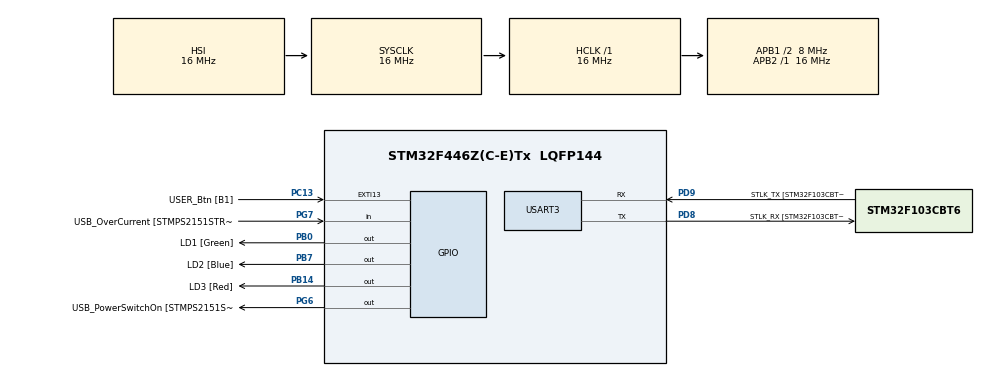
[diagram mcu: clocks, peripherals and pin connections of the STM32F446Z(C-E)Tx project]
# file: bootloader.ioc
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Mcu.Family=STM32F4
Mcu.Name=STM32F446Z(C-E)Tx
Mcu.Package=LQFP144
NVIC.PriorityGroup=NVIC_PRIORITYGROUP_4
PA10.GPIO_Label=USB_ID
PA10.Signal=USB_OTG_FS_ID
PA11.GPIO_Label=USB_DM
PA11.Signal=USB_OTG_FS_DM
PA12.GPIO_Label=USB_DP
PA12.Signal=USB_OTG_FS_DP
PA13.GPIO_Label=TMS
PA13.Signal=SYS_JTMS-SWDIO
PA14.GPIO_Label=TCK
PA14.Signal=SYS_JTCK-SWCLK
PA8.GPIO_Label=USB_SOF [TP1]
PA8.Signal=USB_OTG_FS_SOF
PA9.GPIO_Label=USB_VBUS
PA9.Signal=USB_OTG_FS_VBUS
PB0.GPIO_Label=LD1 [Green]
PB0.Signal=GPIO_Output
PB14.GPIO_Label=LD3 [Red]
PB14.Signal=GPIO_Output
PB7.GPIO_Label=LD2 [Blue]
PB7.Signal=GPIO_Output
PC13.GPIO_Label=USER_Btn [B1]
PC13.Signal=GPXTI13
PC14-OSC32_IN.Signal=RCC_OSC32_IN
PC15-OSC32_OUT.Signal=RCC_OSC32_OUT
PD8.GPIO_Label=STLK_RX [STM32F103CBT6_PA3]
PD8.Mode=Asynchronous
PD8.Signal=USART3_TX
PD9.GPIO_Label=STLK_TX [STM32F103CBT6_PA2]
PD9.Mode=Asynchronous
PD9.Signal=USART3_RX
PG6.GPIO_Label=USB_PowerSwitchOn [STMPS2151STR_EN]
PG6.Signal=GPIO_Output
PG7.GPIO_Label=USB_OverCurrent [STMPS2151STR_FAULT]
PG7.Signal=GPIO_Input
PH0-OSC_IN.GPIO_Label=MCO [STM32F103CBT6_PA8]
PH0-OSC_IN.Signal=RCC_OSC_IN
PH1-OSC_OUT.Signal=RCC_OSC_OUT
ProjectManager.HeapSize=0x200
ProjectManager.StackSize=0x400
ProjectManager.TargetToolchain=MDK-ARM V5
RCC.48MHZClocksFreq_Value=24000000
RCC.AHBFreq_Value=16000000
RCC.APB1CLKDivider=RCC_HCLK_DIV2
RCC.APB1Freq_Value=8000000
RCC.APB1TimFreq_Value=16000000
RCC.APB2Freq_Value=16000000
RCC.APB2TimFreq_Value=16000000
RCC.CortexFreq_Value=16000000
RCC.HCLKFreq_Value=16000000
RCC.HSE_VALUE=8000000
RCC.HSI_VALUE=16000000
RCC.LSE_VALUE=32768
RCC.PLLMUL=RCC_PLL_MUL9
RCC.PRESCALERUSB=RCC_USBCLKSOURCE_PLL_DIV1_5
RCC.SYSCLKFreq_VALUE=16000000
RCC.SYSCLKSourceVirtual=RCC_SYSCLKSOURCE_PLLCLK
RCC.USBFreq_Value=96000000
RCC.VCOOutputFreq_Value=192000000
USART3.VirtualMode=VM_ASYNC
VP_CRC_VS_CRC.Mode=CRC_Activate
board=NUCLEO-F446ZE

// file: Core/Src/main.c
/* USER CODE BEGIN Header */
/**
  ******************************************************************************
  * @file           : main.c
  * @brief          : Main program body
  ******************************************************************************
  * @attention
  *
  * <h2><center>&copy; Copyright (c) 2021 STMicroelectronics.
  * All rights reserved.</center></h2>
  *
  * This software component is licensed by ST under BSD 3-Clause license,
  * the "License"; You may not use this file except in compliance with the
  * License. You may obtain a copy of the License at:
  *                        opensource.org/licenses/BSD-3-Clause
  *
  ******************************************************************************
  */
/* USER CODE END Header */
#include "main.h"

/* USER CODE BEGIN Includes */
#include <stdarg.h>
#include <string.h>
#include <stdint.h>
#include <stdio.h>

/* USER CODE END Includes */

/* USER CODE BEGIN PD */
#define BL_DEBUG_MSG_EN
/* USER CODE END PD */

/* USER CODE BEGIN PM */
#define BL_RX_LEN  200

/* USER CODE END PM */

CRC_HandleTypeDef hcrc;

UART_HandleTypeDef huart3;
 uint8_t bl_rx_buffer[BL_RX_LEN];

void SystemClock_Config(void);
static void MX_GPIO_Init(void);
static void MX_CRC_Init(void);
static void MX_USART3_UART_Init(void);
/* USER CODE BEGIN PFP */
/* Private function prototypes -----------------------------------------------*/
 static void printmsg(char *format,...);

/* USER CODE END PFP */

/* USER CODE BEGIN 0 */
char data[] = "Hello from bootloader\r\n";

/* USER CODE END 0 */

int main(void)
{

  /* MCU Configuration--------------------------------------------------------*/

  /* Reset of all peripherals, Initializes the Flash interface and the Systick. */
  HAL_Init();

  /* Configure the system clock */
  SystemClock_Config();

  /* Initialize all configured peripherals */
  MX_GPIO_Init();
  MX_CRC_Init();
  MX_USART3_UART_Init();
  /* USER CODE BEGIN 2 */
	printmsg("Running boot loader program.......\r\n");

	/* Lets check whether button is pressed or not, if not pressed jump to user application */
  if ( HAL_GPIO_ReadPin(GPIOC,GPIO_PIN_13) == GPIO_PIN_SET)
  {
	  printmsg("Button is pressed .. going to BL mode\r\n");

	  //we should continue in bootloader mode
	  bootloader_uart_read_data();

  }
  else
  {
	  printmsg("Button is not pressed .. executing user app\r\n");

		//jump to user application
		bootloader_jump_to_user_app();

  }

  /* USER CODE END 2 */

  /* Infinite loop */
  /* USER CODE BEGIN WHILE */
#if 0
  while (1)
  {
    /* USER CODE END WHILE */

    /* USER CODE BEGIN 3 */
		uint32_t curr_tick = HAL_GetTick();
		printmsg("curren tick = %d\r\n", curr_tick);

		while(HAL_GetTick() <= (curr_tick + 500));

  }
#endif
  /* USER CODE END 3 */
}

void SystemClock_Config(void)
{
  RCC_OscInitTypeDef RCC_OscInitStruct = {0};
  RCC_ClkInitTypeDef RCC_ClkInitStruct = {0};

  /** Configure the main internal regulator output voltage
  */
  __HAL_RCC_PWR_CLK_ENABLE();
  __HAL_PWR_VOLTAGESCALING_CONFIG(PWR_REGULATOR_VOLTAGE_SCALE3);
  /** Initializes the RCC Oscillators according to the specified parameters
  * in the RCC_OscInitTypeDef structure.
  */
  RCC_OscInitStruct.OscillatorType = RCC_OSCILLATORTYPE_HSI;
  RCC_OscInitStruct.HSIState = RCC_HSI_ON;
  RCC_OscInitStruct.HSICalibrationValue = RCC_HSICALIBRATION_DEFAULT;
  RCC_OscInitStruct.PLL.PLLState = RCC_PLL_NONE;
  if (HAL_RCC_OscConfig(&RCC_OscInitStruct) != HAL_OK)
  {
    Error_Handler();
  }
  /** Initializes the CPU, AHB and APB buses clocks
  */
  RCC_ClkInitStruct.ClockType = RCC_CLOCKTYPE_HCLK|RCC_CLOCKTYPE_SYSCLK
                              |RCC_CLOCKTYPE_PCLK1|RCC_CLOCKTYPE_PCLK2;
  RCC_ClkInitStruct.SYSCLKSource = RCC_SYSCLKSOURCE_HSI;
  RCC_ClkInitStruct.AHBCLKDivider = RCC_SYSCLK_DIV1;
  RCC_ClkInitStruct.APB1CLKDivider = RCC_HCLK_DIV2;
  RCC_ClkInitStruct.APB2CLKDivider = RCC_HCLK_DIV1;

  if (HAL_RCC_ClockConfig(&RCC_ClkInitStruct, FLASH_LATENCY_0) != HAL_OK)
  {
    Error_Handler();
  }
}

static void MX_CRC_Init(void)
{

  hcrc.Instance = CRC;
  if (HAL_CRC_Init(&hcrc) != HAL_OK)
  {
    Error_Handler();
  }

}

static void MX_USART3_UART_Init(void)
{

  huart3.Instance = USART3;
  huart3.Init.BaudRate = 115200;
  huart3.Init.WordLength = UART_WORDLENGTH_8B;
  huart3.Init.StopBits = UART_STOPBITS_1;
  huart3.Init.Parity = UART_PARITY_NONE;
  huart3.Init.Mode = UART_MODE_TX_RX;
  huart3.Init.HwFlowCtl = UART_HWCONTROL_NONE;
  huart3.Init.OverSampling = UART_OVERSAMPLING_16;
  if (HAL_UART_Init(&huart3) != HAL_OK)
  {
    Error_Handler();
  }

}

static void MX_GPIO_Init(void)
{
  GPIO_InitTypeDef GPIO_InitStruct = {0};

  /* GPIO Ports Clock Enable */
  __HAL_RCC_GPIOC_CLK_ENABLE();
  __HAL_RCC_GPIOH_CLK_ENABLE();
  __HAL_RCC_GPIOB_CLK_ENABLE();
  __HAL_RCC_GPIOD_CLK_ENABLE();
  __HAL_RCC_GPIOG_CLK_ENABLE();
  __HAL_RCC_GPIOA_CLK_ENABLE();

  /*Configure GPIO pin Output Level */
  HAL_GPIO_WritePin(GPIOB, LD1_Pin|LD3_Pin|LD2_Pin, GPIO_PIN_RESET);

  /*Configure GPIO pin Output Level */
  HAL_GPIO_WritePin(USB_PowerSwitchOn_GPIO_Port, USB_PowerSwitchOn_Pin, GPIO_PIN_RESET);

  /*Configure GPIO pin : USER_Btn_Pin */
  GPIO_InitStruct.Pin = USER_Btn_Pin;
  GPIO_InitStruct.Mode = GPIO_MODE_IT_RISING;
  GPIO_InitStruct.Pull = GPIO_NOPULL;
  HAL_GPIO_Init(USER_Btn_GPIO_Port, &GPIO_InitStruct);

  /*Configure GPIO pins : LD1_Pin LD3_Pin LD2_Pin */
  GPIO_InitStruct.Pin = LD1_Pin|LD3_Pin|LD2_Pin;
  GPIO_InitStruct.Mode = GPIO_MODE_OUTPUT_PP;
  GPIO_InitStruct.Pull = GPIO_NOPULL;
  GPIO_InitStruct.Speed = GPIO_SPEED_FREQ_LOW;
  HAL_GPIO_Init(GPIOB, &GPIO_InitStruct);

  /*Configure GPIO pin : USB_PowerSwitchOn_Pin */
  GPIO_InitStruct.Pin = USB_PowerSwitchOn_Pin;
  GPIO_InitStruct.Mode = GPIO_MODE_OUTPUT_PP;
  GPIO_InitStruct.Pull = GPIO_NOPULL;
  GPIO_InitStruct.Speed = GPIO_SPEED_FREQ_LOW;
  HAL_GPIO_Init(USB_PowerSwitchOn_GPIO_Port, &GPIO_InitStruct);

  /*Configure GPIO pin : USB_OverCurrent_Pin */
  GPIO_InitStruct.Pin = USB_OverCurrent_Pin;
  GPIO_InitStruct.Mode = GPIO_MODE_INPUT;
  GPIO_InitStruct.Pull = GPIO_NOPULL;
  HAL_GPIO_Init(USB_OverCurrent_GPIO_Port, &GPIO_InitStruct);

  /*Configure GPIO pins : USB_SOF_Pin USB_ID_Pin USB_DM_Pin USB_DP_Pin */
  GPIO_InitStruct.Pin = USB_SOF_Pin|USB_ID_Pin|USB_DM_Pin|USB_DP_Pin;
  GPIO_InitStruct.Mode = GPIO_MODE_AF_PP;
  GPIO_InitStruct.Pull = GPIO_NOPULL;
  GPIO_InitStruct.Speed = GPIO_SPEED_FREQ_VERY_HIGH;
  GPIO_InitStruct.Alternate = GPIO_AF10_OTG_FS;
  HAL_GPIO_Init(GPIOA, &GPIO_InitStruct);

  /*Configure GPIO pin : USB_VBUS_Pin */
  GPIO_InitStruct.Pin = USB_VBUS_Pin;
  GPIO_InitStruct.Mode = GPIO_MODE_INPUT;
  GPIO_InitStruct.Pull = GPIO_NOPULL;
  HAL_GPIO_Init(USB_VBUS_GPIO_Port, &GPIO_InitStruct);

}

/* USER CODE BEGIN 4 */
void  bootloader_uart_read_data()
{
	uint8_t rcv_len=0;

	while(1)
	{
		memset(bl_rx_buffer,0,200);
		//here we will read and decode the commands coming from host
		//first read only one byte from the host , which is the "length" field of the command packet
    HAL_UART_Receive(&huart3,bl_rx_buffer,1,HAL_MAX_DELAY);
		rcv_len= bl_rx_buffer[0];
		HAL_UART_Receive(&huart3,&bl_rx_buffer[1],rcv_len,HAL_MAX_DELAY);
		switch(bl_rx_buffer[1])
		{
			case BL_GET_VER:
				bootloader_handle_getver_cmd(bl_rx_buffer);
        break;
      case BL_GET_HELP:
        //bootloader_handle_gethelp_cmd(bl_rx_buffer);
        break;
      case BL_GET_CID:
        //bootloader_handle_getcid_cmd(bl_rx_buffer);
        break;
      case BL_GET_RDP_STATUS:
        //bootloader_handle_getrdp_cmd(bl_rx_buffer);
        break;
      case BL_GO_TO_ADDR:
        //bootloader_handle_go_cmd(bl_rx_buffer);
        break;
      case BL_FLASH_ERASE:
        //bootloader_handle_flash_erase_cmd(bl_rx_buffer);
        break;
      case BL_MEM_WRITE:
        //bootloader_handle_mem_write_cmd(bl_rx_buffer);
        break;
      case BL_EN_RW_PROTECT:
        //bootloader_handle_en_rw_protect(bl_rx_buffer);
        break;
      case BL_MEM_READ:
        //bootloader_handle_mem_read(bl_rx_buffer);
        break;
      case BL_READ_SECTOR_P_STATUS:
        //bootloader_handle_read_sector_protection_status(bl_rx_buffer);
        break;
      case BL_OTP_READ:
        //bootloader_handle_read_otp(bl_rx_buffer);
        break;
	   	case BL_DIS_R_W_PROTECT:
        //bootloader_handle_dis_rw_protect(bl_rx_buffer);
        break;
      default:
         printmsg("BL_DEBUG_MSG:Invalid command code received from host \n");
         break;
		}

	}
}

/*code to jump to user application
 *Here we are assuming FLASH_SECTOR2_BASE_ADDRESS
 *is where the user application is stored
 */
void bootloader_jump_to_user_app()
{
	 //just a function pointer to hold the address of the reset handler of the user app.
    void (*app_reset_handler)(void);

    printmsg("Inside bootloader_jump_to_user_app\r\n");

    // 1. configure the MSP by reading the value from the base address of the sector 2
    uint32_t msp_value = *(volatile uint32_t *)FLASH_SECTOR2_BASE_ADDRESS;
    printmsg("MSP value : %#x]\r\n",msp_value);

    //This function comes from CMSIS.
    __set_MSP(msp_value);

    //SCB->VTOR = FLASH_SECTOR1_BASE_ADDRESS;

    /* 2. Now fetch the reset handler address of the user application
     * from the location FLASH_SECTOR2_BASE_ADDRESS+4
     */
    uint32_t resethandler_address = *(volatile uint32_t *) (FLASH_SECTOR2_BASE_ADDRESS + 4);

    app_reset_handler = (void*) resethandler_address;

    printmsg("app reset handler addr : %#x\r\n",app_reset_handler);

    //3. jump to reset handler of the user application
    app_reset_handler();
}

/* prints formatted string to console over UART */
 void printmsg(char *format,...)
 {
#ifdef BL_DEBUG_MSG_EN
	char str[80];

	/*Extract the the argument list using VA apis */
	va_list args;
	va_start(args, format);
	vsprintf(str, format,args);
	HAL_UART_Transmit(&huart3,(uint8_t *)str, strlen(str),HAL_MAX_DELAY);
	va_end(args);
#endif
 }

//This verifies the CRC of the given buffer in pData .
uint8_t bootloader_verify_crc (uint8_t *pData, uint32_t len, uint32_t crc_host)
{
    uint32_t uwCRCValue=0xff;

    for (uint32_t i=0 ; i < len ; i++)
	{
        uint32_t i_data = pData[i];
        uwCRCValue = HAL_CRC_Accumulate(&hcrc, &i_data, 1);
	}

	 /* Reset CRC Calculation Unit */
  __HAL_CRC_DR_RESET(&hcrc);

	if( uwCRCValue == crc_host)
	{
		return VERIFY_CRC_SUCCESS;
	}

	return VERIFY_CRC_FAIL;
}

/*This function sends ACK if CRC matches along with "len to follow"*/
void bootloader_send_ack(uint8_t command_code, uint8_t follow_len)
{
	 //here we send 2 byte.. first byte is ack and the second byte is len value
	uint8_t ack_buf[2];
	ack_buf[0] = BL_ACK;
	ack_buf[1] = follow_len;
	HAL_UART_Transmit(&huart3,ack_buf,2,HAL_MAX_DELAY);

}
/* This function writes data in to C_UART */
void bootloader_uart_write_data(uint8_t *pBuffer,uint32_t len)
{
    /*you can replace the below ST's USART driver API call with your MCUs driver API call */
	HAL_UART_Transmit(&huart3,pBuffer,len,HAL_MAX_DELAY);

}

//Just returns the macro value .
uint8_t get_bootloader_version(void)
{
  return (uint8_t)BL_VERSION;
}

/*This function sends NACK */
void bootloader_send_nack(void)
{
	uint8_t nack = BL_NACK;
	HAL_UART_Transmit(&huart3,&nack,1,HAL_MAX_DELAY);
}

 void bootloader_handle_getver_cmd(uint8_t *bl_rx_buffer)
{
    uint8_t bl_version;

    // 1) verify the checksum
      printmsg("BL_DEBUG_MSG:bootloader_handle_getver_cmd\n");

	 //Total length of the command packet
	  uint32_t command_packet_len = bl_rx_buffer[0]+1 ;

	  //extract the CRC32 sent by the Host
	  uint32_t host_crc = *((uint32_t * ) (bl_rx_buffer+command_packet_len - 4) ) ;

    if (! bootloader_verify_crc(&bl_rx_buffer[0],command_packet_len-4,host_crc))
    {
        printmsg("BL_DEBUG_MSG:checksum success !!\n");
        // checksum is correct..
        bootloader_send_ack(bl_rx_buffer[0],1);
        bl_version=get_bootloader_version();
        printmsg("BL_DEBUG_MSG:BL_VER : %d %#x\n",bl_version,bl_version);
        bootloader_uart_write_data(&bl_version,1);

    }else
    {
        printmsg("BL_DEBUG_MSG:checksum fail !!\n");
        //checksum is wrong send nack
        bootloader_send_nack();
    }

}

/* USER CODE END 4 */

void Error_Handler(void)
{
  __disable_irq();
  while (1)
  {
  }
}

/************************ (C) COPYRIGHT STMicroelectronics *****END OF FILE****/
